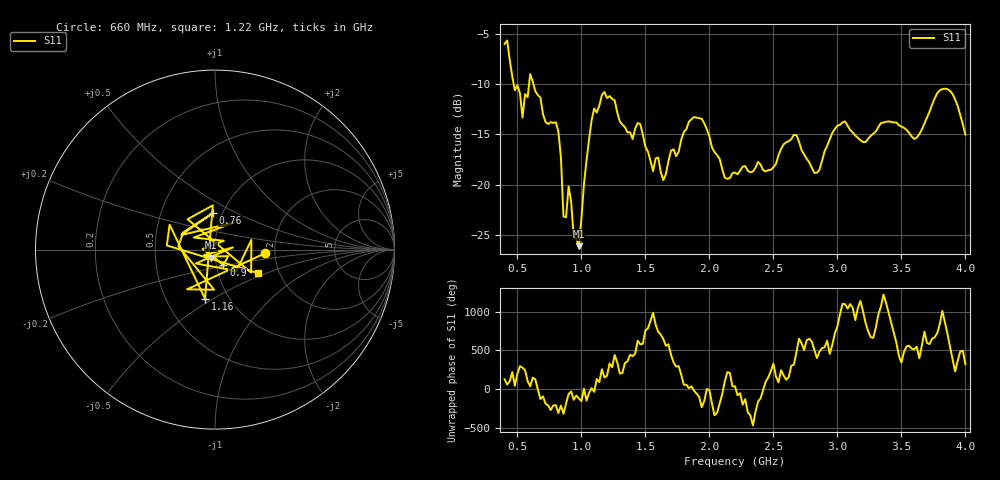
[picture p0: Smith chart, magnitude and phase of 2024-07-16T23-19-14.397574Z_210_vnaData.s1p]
!Created with skrf (http://scikit-rf.org).
# Hz S RI R 50.0
!freq ReS11 ImS11
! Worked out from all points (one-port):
!   181 points, 400 MHz to 4 GHz, reference 50 ohm
!   lowest |S11| = -26.1 dB at 980 MHz (marker M1), VSWR 1.10, Z = 47.7 - j4.26 ohm
!   |S11| at or under -10 dB: 470.9 MHz to 591.4 MHz (120.6 MHz wide, 22.7 % of centre); 625 MHz to end of sweep
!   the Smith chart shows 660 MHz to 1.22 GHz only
!   S11 on the Smith chart (normalised r, x): 660 MHz: 1.77, -0.08; 760 MHz: 0.90, +0.38; 900 MHz: 1.08, -0.19; 1.16 GHz: 0.78, -0.46; 1.22 GHz: 1.56, -0.44
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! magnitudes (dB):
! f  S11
! 400 MHz  -6.0
! 540 MHz  -13.3
! 600 MHz  -9.0
! 660 MHz  -11.1
! 760 MHz  -13.8
! 820 MHz  -14.7
! 860 MHz  -23.2
! 900 MHz  -20.2
! 940 MHz  -25.1
! 980 MHz  -26.1
! 1.08 GHz  -13.6
! 1.16 GHz  -11.1
! 1.22 GHz  -11.2
! 1.3 GHz  -13.7
! 1.46 GHz  -14.0
! 1.64 GHz  -19.6
! 1.76 GHz  -16.7
! 1.94 GHz  -13.5
! 2.12 GHz  -19.3
! 2.2 GHz  -18.8
! 2.48 GHz  -18.5
! 2.66 GHz  -15.1
! 2.84 GHz  -18.8
! 3 GHz  -14.1
! 3.1 GHz  -14.6
! 3.56 GHz  -14.9
! 3.84 GHz  -10.5
! 4 GHz  -15.0
